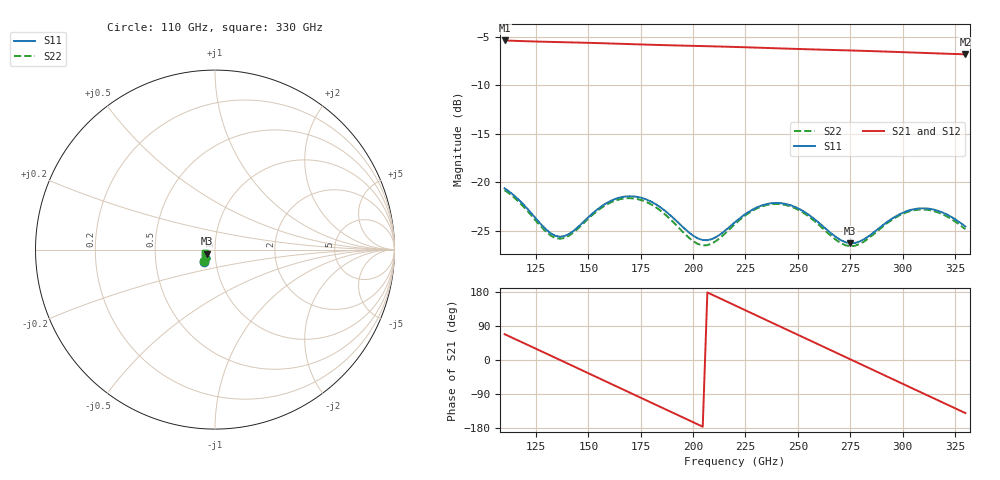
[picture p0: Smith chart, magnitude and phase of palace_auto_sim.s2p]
#  GHZ S DB R 50
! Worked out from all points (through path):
!   101 points, 110 GHz to 330 GHz, reference 50 ohm
!   highest |S21| = -5.39 dB at 110 GHz (marker M1); lowest = -6.8 dB at 330 GHz (marker M2)
!   group delay of S21, straight-line fit = 7.18 ps
!   lowest |S11| = -26.3 dB at 275 GHz (marker M3), VSWR 1.10, Z = 45.9 - j2.14 ohm
!   |S11| at or under -10 dB: start of sweep to end of sweep
!   |S22| runs from -26.6 to -20.8 dB; largest |S21 - S12| = 8.2e-14
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110  -20.63 -133.3  -5.39 68.1  -5.39 68.1  -20.81 -134.2
121  -22.76 -143.1  -5.48 39.9  -5.48 39.9  -22.97 -143.8
129.8  -24.86 -140.4  -5.53 17.2  -5.53 17.2  -25.10 -140.7
138.6  -25.54 -127.4  -5.58 -5.5  -5.58 -5.5  -25.73 -127.4
147.4  -24.13 -119.3  -5.62 -28.2  -5.62 -28.2  -24.27 -119.5
158.4  -22.18 -124.1  -5.69 -56.7  -5.69 -56.7  -22.33 -124.6
167.2  -21.47 -133.6  -5.75 -79.5  -5.75 -79.5  -21.66 -134.4
176  -21.64 -144.1  -5.81 -102.2  -5.81 -102.2  -21.88 -145.0
184.8  -22.64 -152.6  -5.87 -124.9  -5.87 -124.9  -22.98 -153.5
202.4  -25.80 -148.6  -5.96 -170.3  -5.96 -170.3  -26.36 -147.6
211.2  -25.62 -136.7  -6.01 166.9  -6.01 166.9  -26.01 -134.2
220  -24.11 -132.3  -6.06 144.1  -6.06 144.1  -24.30 -129.9
231  -22.54 -138.3  -6.14 115.6  -6.14 115.6  -22.64 -136.7
239.8  -22.13 -147.0  -6.20 92.9  -6.20 92.9  -22.22 -145.9
248.6  -22.53 -155.9  -6.26 70.1  -6.26 70.1  -22.66 -155.1
257.4  -23.70 -161.7  -6.32 47.4  -6.32 47.4  -23.89 -161.2
275  -26.27 -151.3  -6.42 2.0  -6.42 2.0  -26.58 -149.8
283.8  -25.56 -141.2  -6.48 -20.8  -6.48 -20.8  -25.76 -139.1
294.8  -23.77 -140.1  -6.56 -49.2  -6.56 -49.2  -23.88 -138.4
303.6  -22.86 -146.0  -6.63 -72.0  -6.63 -72.0  -22.97 -144.8
312.4  -22.71 -153.9  -6.69 -94.7  -6.69 -94.7  -22.85 -153.1
330  -24.55 -164.0  -6.82 -140.0  -6.82 -140.0  -24.84 -163.5
